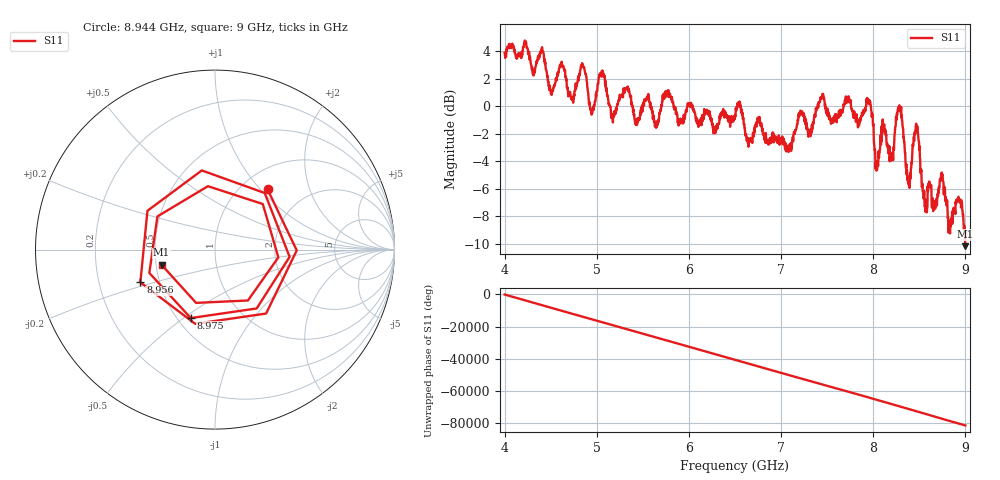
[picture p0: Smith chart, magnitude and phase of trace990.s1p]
! Created with skrf 1.8.0 (http://scikit-rf.org).
# Hz S RI R 50.0
!freq ReS11 ImS11
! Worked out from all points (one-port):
!   1601 points, 4 GHz to 9 GHz, reference 50 ohm
!   lowest |S11| = -10.2 dB at 9 GHz (marker M1), VSWR 1.90, Z = 26.7 - j5 ohm
!   |S11| at or under -10 dB: 8.996839 GHz to end of sweep
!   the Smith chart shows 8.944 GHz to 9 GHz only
!   S11 on the Smith chart (normalised r, x): 8.944 GHz: 1.31, +1.10; 8.956 GHz: 0.39, -0.18; 8.975 GHz: 0.58, -0.53; 9 GHz: 0.53, -0.10
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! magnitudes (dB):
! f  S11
! 4 GHz  3.9
! 4.4 GHz  4.1
! 4.509 GHz  0.8
! 4.625 GHz  2.9
! 4.731 GHz  0.6
! 4.853 GHz  2.8
! 4.947 GHz  -0.4
! 5.05 GHz  2.2
! 5.169 GHz  -0.7
! 5.25 GHz  0.8
! 5.875 GHz  -0.8
! 6.5 GHz  -0.6
! 7.125 GHz  -2.4
! 7.441 GHz  0.7
! 7.75 GHz  0.4
! 7.953 GHz  0.2
! 8.044 GHz  -4.0
! 8.112 GHz  -1.4
! 8.203 GHz  -3.8
! 8.288 GHz  -0.2
! 8.375 GHz  -5.1
! 8.466 GHz  -1.3
! 8.562 GHz  -7.2
! 8.738 GHz  -4.9
! 8.944 GHz  -7.0
! 8.956 GHz  -6.9
! 8.975 GHz  -7.9
! 9 GHz  -10.2
